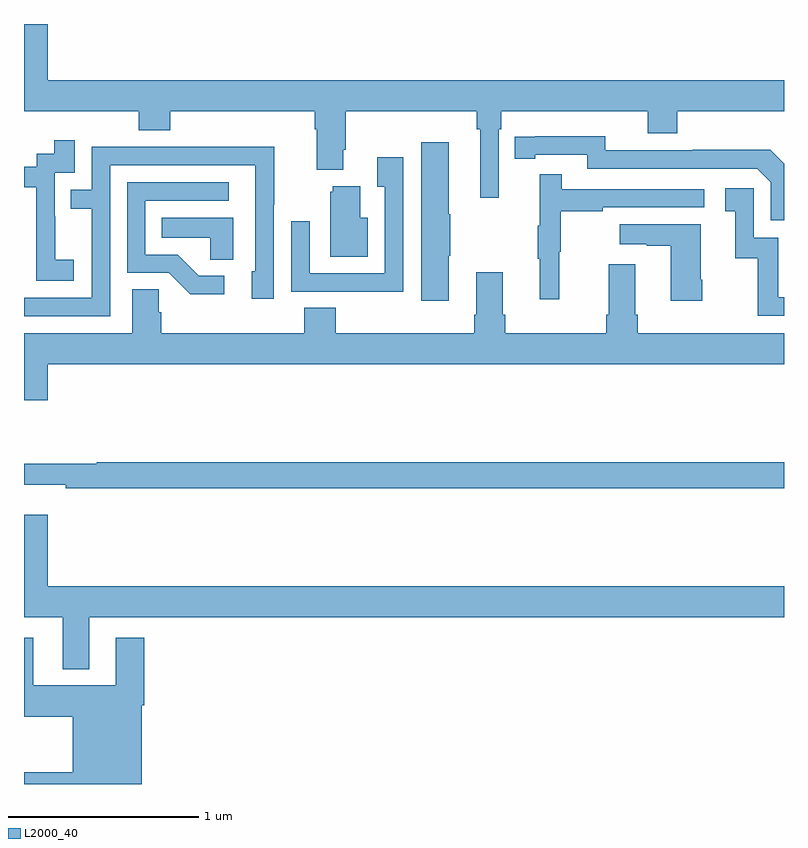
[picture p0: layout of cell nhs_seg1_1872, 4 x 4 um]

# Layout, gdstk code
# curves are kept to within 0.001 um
import gdstk
lib = gdstk.Library(unit=1e-6, precision=1e-09)
def P(c, l, *ps):  # polygons
    for p in ps: c.add(gdstk.Polygon(p, *l))
L2000_40 = (2000, 40)

nhs_seg1_1872 = lib.new_cell('nhs_seg1_1872')
P(nhs_seg1_1872, L2000_40, [(215.499,543.644),(215.513,543.644),(215.513,543.74),(216.284,543.74),(216.284,543.623),(216.437,543.623),(216.437,543.74),(217,543.74),(217,543.904),(213.124,543.904),(213.124,544.199),(213,544.199),(213,543.74),(213.605,543.74),(213.605,543.641),(213.77,543.641),(213.77,543.74),(214.529,543.74),(214.529,543.644),(214.541,543.644),(214.541,543.431),(214.681,543.431),(214.681,543.538),(214.694,543.538),(214.694,543.74),(215.383,543.74),(215.383,543.644),(215.402,543.644),(215.402,543.285),(215.499,543.285)],
  [(217,543.464),(216.928,543.536),(216.52,543.536),(216.52,543.534),(216.06,543.534),(216.06,543.607),(215.584,543.606),(215.584,543.49),(215.692,543.49),(215.692,543.51),(215.964,543.51),(215.964,543.438),(216.858,543.438),(216.93,543.366),(216.93,543.165),(217,543.165)],
  [(213.262,542.959),(213.164,542.959),(213.164,543.188),(213.162,543.188),(213.162,543.417),(213.267,543.417),(213.267,543.586),(213.159,543.586),(213.159,543.516),(213.066,543.516),(213.066,543.447),(213,543.447),(213,543.339),(213.065,543.339),(213.065,543.055),(213.064,543.055),(213.064,542.849),(213.262,542.849)],
  [(215.236,542.98),(215.244,542.98),(215.244,543.197),(215.236,543.197),(215.236,543.577),(215.09,543.577),(215.09,542.742),(215.236,542.742)],
  [(213.453,543.456),(214.218,543.456),(214.218,542.898),(214.199,542.898),(214.199,542.754),(214.314,542.754),(214.314,543.247),(214.317,543.247),(214.317,543.554),(213.853,543.554),(213.853,543.552),(213.357,543.552),(213.357,543.327),(213.247,543.327),(213.247,543.226),(213.357,543.226),(213.357,542.757),(213,542.757),(213,542.661),(213.453,542.661)],
  [(214.995,543.499),(214.859,543.499),(214.859,543.343),(214.899,543.343),(214.899,542.886),(214.503,542.886),(214.503,543.16),(214.407,543.16),(214.407,542.79),(214.723,542.79),(214.723,542.789),(214.995,542.789)],
  [(215.816,543),(215.824,543),(215.824,543.214),(216.047,543.214),(216.047,543.234),(216.58,543.234),(216.58,543.33),(215.831,543.33),(215.831,543.409),(215.714,543.409),(215.714,543.137),(215.703,543.137),(215.703,542.963),(215.714,542.963),(215.714,542.751),(215.816,542.751)],
  [(214.054,542.874),(213.919,542.874),(213.808,542.985),(213.639,542.985),(213.639,543.27),(214.078,543.27),(214.078,543.366),(213.543,543.366),(213.543,542.889),(213.762,542.889),(213.875,542.777),(214.054,542.777)],
  [(214.81,543.178),(214.771,543.178),(214.771,543.346),(214.625,543.346),(214.625,543.315),(214.613,543.315),(214.613,542.975),(214.81,542.975)],
  [(217,542.76),(216.969,542.76),(216.969,543.075),(216.84,543.075),(216.84,543.334),(216.69,543.334),(216.69,543.213),(216.743,543.213),(216.743,542.967),(216.861,542.967),(216.861,542.664),(217,542.664)],
  [(214.102,543.178),(213.724,543.178),(213.724,543.074),(213.981,543.074),(213.981,542.959),(214.102,542.959)],
  [(216.57,542.854),(216.562,542.854),(216.562,543.145),(216.135,543.145),(216.135,543.041),(216.278,543.041),(216.278,543.031),(216.404,543.031),(216.404,542.742),(216.57,542.742)],
  [(216.217,542.668),(216.217,542.935),(216.077,542.935),(216.077,542.668),(216.065,542.668),(216.065,542.572),(215.534,542.572),(215.534,542.668),(215.521,542.668),(215.521,542.893),(215.381,542.893),(215.381,542.668),(215.369,542.668),(215.369,542.572),(214.64,542.572),(214.64,542.705),(214.475,542.705),(214.475,542.572),(213.722,542.572),(213.722,542.681),(213.708,542.681),(213.708,542.804),(213.569,542.804),(213.569,542.572),(213,542.572),(213,542.22),(213.124,542.22),(213.124,542.408),(217,542.408),(217,542.572),(216.23,542.572),(216.23,542.668)],
  [(217,541.892),(213.382,541.892),(213.382,541.885),(213,541.885),(213,541.775),(213.22,541.775),(213.22,541.756),(217,541.756)],
  [(213.343,541.076),(217,541.076),(217,541.24),(213.124,541.24),(213.124,541.615),(213,541.615),(213,541.076),(213.203,541.076),(213.203,540.803),(213.343,540.803)],
  [(213.619,540.614),(213.632,540.614),(213.632,540.97),(213.482,540.97),(213.482,540.718),(213.049,540.718),(213.049,540.97),(213,540.97),(213,540.554),(213.257,540.554),(213.257,540.262),(213,540.262),(213,540.199),(213.619,540.199)])

lib.write_gds('nhs_seg1_1872.gds')
